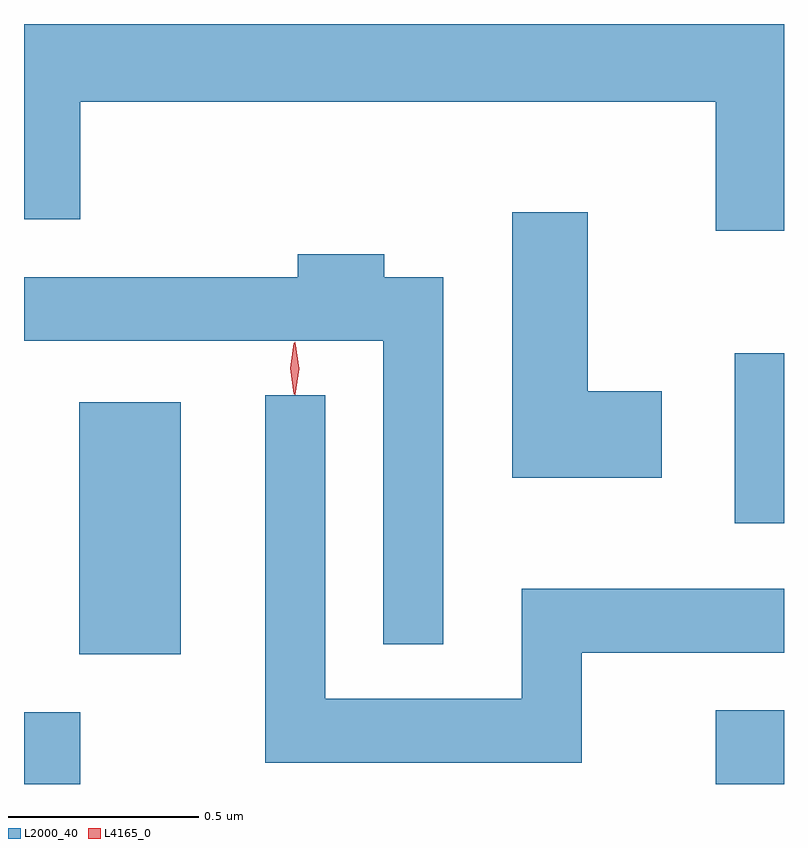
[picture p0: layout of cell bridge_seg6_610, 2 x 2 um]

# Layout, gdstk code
import gdstk
lib = gdstk.Library(unit=1e-6, precision=1e-09)
def R(c, l, rs):  # rectangles x0, y0, x1, y1
    for r in rs: c.add(gdstk.rectangle(r[:2], r[2:], *l))
def P(c, l, *ps):  # polygons
    for p in ps: c.add(gdstk.Polygon(p, *l))
L2000_40 = (2000, 40)
L4165_0 = (4165, 0)

bridge_seg6_610 = lib.new_cell('bridge_seg6_610')
R(bridge_seg6_610, L2000_40, [(417.881,1625.94,418.029,1626.129), (419.701,1625.94,419.881,1626.134), (418.026,1626.281,418.294,1626.944), (419.751,1626.626,419.881,1627.074)])
P(bridge_seg6_610, L2000_40, [(419.881,1627.94),(417.881,1627.94),(417.881,1627.426),(418.029,1627.426),(418.029,1627.736),(419.701,1627.736),(419.701,1627.396),(419.881,1627.396)],
  [(419.559,1626.974),(419.364,1626.974),(419.364,1627.444),(419.166,1627.444),(419.166,1626.746),(419.559,1626.746)],
  [(418.984,1627.274),(418.829,1627.274),(418.829,1627.334),(418.601,1627.334),(418.601,1627.274),(417.881,1627.274),(417.881,1627.106),(418.826,1627.106),(418.826,1626.308),(418.984,1626.308)],
  [(419.349,1626.286),(419.881,1626.286),(419.881,1626.454),(419.191,1626.454),(419.191,1626.164),(418.674,1626.164),(418.674,1626.963),(418.516,1626.963),(418.516,1625.996),(419.349,1625.996)])
P(bridge_seg6_610, L4165_0, [(418.594,1626.964),(418.585,1627.033),(418.594,1627.102),(418.595,1627.103),(418.595,1627.102),(418.605,1627.033),(418.595,1626.964),(418.595,1626.964)],
  [(418.591,1626.967),(418.582,1627.034),(418.591,1627.1),(418.592,1627.1),(418.592,1627.1),(418.602,1627.034),(418.592,1626.967),(418.592,1626.967)])

lib.write_gds('bridge_seg6_610.gds')
